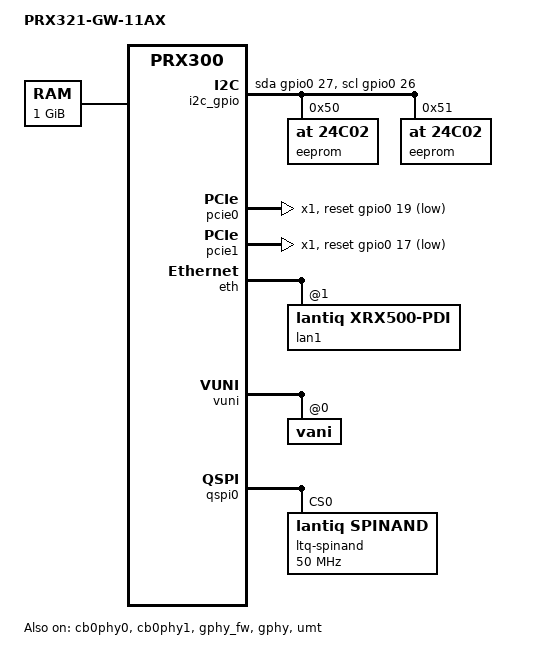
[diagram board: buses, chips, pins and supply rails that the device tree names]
/dts-v1/;
#include <dt-bindings/interrupt-controller/mips-gic.h>
#include <dt-bindings/gpio/gpio.h>
#include <dt-bindings/net/mxl,vuni.h>
#include "prx300.dtsi"
#include "prx300-512MB.dtsi"
#include "prx300-pon.dtsi"

/* Model configuration */
/ {
	model = "PRX321-GW-11AX";
	compatible = "intel,prx321-gw-11ax", "intel,prx300";

	chosen {
		stdout-path = "serial0";
	};

	memory@0 {
		device_type = "memory";
		reg = <0x20000000 0x40000000>; /* 1024 MB */
	};
};

/******************************************************************************
 ** Board configuration: Enable PCIe board configuration.
 ** PCIE sub-system feature configuration, the pcie0/1 are defined in Soc level
 ******************************************************************************/
&cb0phy0 {
	intel,mode = <0>; /*0-pcie, 1-xpcs*/
	status = "okay";
};

&cb0phy1 {
	intel,mode = <0>; /*0-pcie, 1-xpcs*/
	status = "okay";
};

&pcie0 {
	status = "okay";
	intel,rst-interval = <200>;
	intel,inbound-swap = <1>;
	intel,outbound-swap = <0>;
	reset-gpios = <&gpio0 19 GPIO_ACTIVE_LOW>;
	num-lanes = <1>;
};

&pcie1 {
	status = "okay";
	intel,rst-interval = <200>;
	intel,inbound-swap = <1>;
	intel,outbound-swap = <0>;
	reset-gpios = <&gpio0 17 GPIO_ACTIVE_LOW>;
	num-lanes = <1>;
};

/* SSC1 is not used and GPIO 17 is needed for PCIe */
&ssc1 {
       status = "disabled";
};

/******************************************************************************
 ** Board configuration: Enable Shift register LED board configuration.
 ******************************************************************************/
&ssogpio {
	status = "disabled";

};

&ssoled {
	status = "disabled";

	/* led definition */
	intel,sso-def-brightness = <0>; /* default off */
	intel,sso-def-blinkrate = <4>; /* HZ*/
	 /* blink rate list: 2, 4, 8, 10, 50K, 100K, 200K, 250K, 1000K */
};

/******************************************************************************
 ** Board configuration: Configure LAN/WAN interfaces
 ******************************************************************************/
&eth {
	status = "okay";

	lan1: interface@1 {
		compatible = "lantiq,xrx500-pdi";
		#address-cells = <1>;
		#size-cells = <0>;
		reg = <1>;
		intel,dp-dev-port = <4>;
		intel,dp-port-id = <4>;
		mac = <&gsw_mac2>;

		lan1_eth: ethernet@1 {
			compatible = "lantiq,xrx500-pdi-port";
			reg = <2>;
			phy-mode = "rgmii";
			phy-handle = <&gphy>;
		};
	};
};

&vuni {
	status = "okay";
	vani@0 {
		intel,extra-subif = "VANI0", "VUNI0_0", "VUNI0_1", "VUNI0_us", "VUNI0_2";
		intel,extra-subif-domain = <VUNI_BR_DOMAIN_NO VUNI_BR_DOMAIN_UC VUNI_BR_DOMAIN_MC VUNI_BR_DOMAIN_US VUNI_BR_DOMAIN_BC>;
		intel,allow_subif_data_loop; /*Traffic between diff subif */
	};
};

&cqm {
	/* Total Number of Buffers in pool0 */
	intel,bm-buff-num = <0xaf40>;
	/* Size of each buffer in pool0 */
	intel,bm-buff-size = <0x1000>;
	/* Buffer pools are shared for DS and US, no split */
	intel,bm-buff-split = <0x0 0x0>;
	/* number of radios requiring 32 VAP support defined */
	intel,radio-32-vap = <1>;
};

&dma1tx {
	lantiq,dma-desc-fod = <0>;
};

&pinctrl_qspi {
	intel,slew-rate = <1>;
	intel,drive-current = <3>;
};

&qspi0 {
	status = "okay";
	ltq-spinand@0 {
		status = "okay";
		#address-cells = <1>;
		#size-cells = <1>;
		compatible = "lantiq,spinand";
		reg = <0 1>;
		linux,mtd-name = "nand.0";
		spi-max-frequency = <50000000>;
		page-size = <2048>;
		block-size = <17>; // 2^17, 128KB
		spi-tx-bus-width = <1>;
		spi-rx-bus-width = <4>;

		/* Read-delay is needed for higher freq.
		 * 2 ref_clk is chosen as value that works well upto
		 * spi-freq 50MHz (with ref_clk 100MHz).
		 */
		read-delay = <2>;
		tshsl-ns = <200>;
		tsd2d-ns = <255>;
		tchsh-ns = <20>;
		tslch-ns = <20>;
	};
};

&gphy_fw {
	status = "okay";
};

&gphy {
	status = "okay";
};

&umt {
	status = "okay";
};


/ {
	aliases {
		i2c0	= &i2c_gpio;
	};

	i2c_gpio: i2c-gpio {
		compatible = "i2c-gpio";
		gpios = <&gpio0 27 GPIO_ACTIVE_HIGH /* sda */
			 &gpio0 26 GPIO_ACTIVE_HIGH /* scl */
			>;
		i2c-gpio,delay-us = <5>;	/* ~100 kHz */
		pinctrl-names = "default";
		pinctrl-0 = <&pinctrl_i2c0_gpio>;
		#address-cells = <1>;
		#size-cells = <0>;

		/* EEPROM of the optical WAN transceiver */
		eeprom@50 {
			compatible = "at,24c02";
			reg = <0x50>;
		};
		eeprom@51 {
			compatible = "at,24c02";
			reg = <0x51>;
		};
	};
};

&pon_eth {
	intel,max_ctps = <128>;
};

/* use CPU3 for MPE firmware */
&cpu3 {
	default-OS = "MPEFW";
};

&gsw_core {
	intel,gsw-globalpce-rules = <256>;
};

&cqm {
	DQ3: cpu-port3 {
		intel,deq-port = <3 4>;
	};
};
